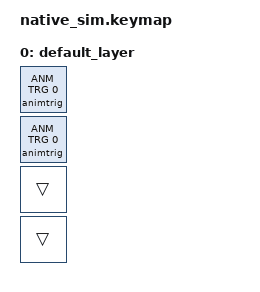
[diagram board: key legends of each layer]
#include "../test.dtsi"
#include <dt-bindings/zmk/keys.h>
#include <dt-bindings/zmk/kscan_mock.h>
#include <zmk_driver_animation/animation.dtsi>
#include <behaviors/animation_trigger.dtsi>
#include <dt-bindings/zmk_driver_animation/animation_control.h>
#include <dt-bindings/zmk_driver_animation/animation_trigger.h>

/*
 * animtrig press/hold/release semantics + hold-extension (DESIGN.md #3.7):
 * key position 0 is pressed and released quickly (plays for
 * TRIGGER_MIN_DURATION_MS then stops via animation_stop_work); key
 * position 1 is held across the min-duration boundary so
 * animation_stop_work's "still pressed -> extend" branch fires at least
 * once before release finally lets it stop.
 *
 * ZMK_MOCK_PRESS/RELEASE's msec is the delay before the *next* events-list
 * entry fires, read/rescheduled at the moment the current entry's own
 * callback runs (see tests/overlay_queue's native_sim.keymap comment and
 * dependencies/zmk/app/module/drivers/kscan/kscan_mock.c) - i.e. entry[i]'s
 * msec controls when entry[i+1] fires, not entry[i] itself.
 */

/ {
    mock_led_strip0: mock_led_strip_0 {
        compatible = "zmk,mock-led-strip";
        chain-length = <1>;
    };

    animation: animation {
        compatible = "zmk,animation";
        drivers = <&mock_led_strip0>;
        chain-lengths = <1>;
        pixels = <&pixel 0 0>;
    };

    animation_base: animation_base {
        compatible = "zmk,animation-solid";
        pixels = <0>;
        colors = <HSL(0, 100, 50)>;
    };

    animation_overlay: animation_overlay {
        compatible = "zmk,animation-solid";
        pixels = <0>;
        colors = <HSL(240, 100, 50)>;
    };

    animation_control0: animation_control_0 {
        compatible = "zmk,animation-control";
        powered-animations = <&animation_base>;
        battery-animations = <&animation_base>;
        behavior-animations = <&animation_overlay>;
    };

    chosen {
        zmk,animation = &animation_control0;
        zmk,animation-control = &animation_control0;
    };

    keymap {
        compatible = "zmk,keymap";

        default_layer {
            bindings = <
            &animtrig ANM_TRG 0
            &animtrig ANM_TRG 0
            &trans
            &trans
            >;
        };
    };
};

/*
 * Absolute timeline (min-duration=200ms, extend-on-hold=200ms per
 * native_sim.conf):
 *   t~50ms   press position 0: starts the trigger overlay.
 *   t~100ms  release position 0 almost immediately - num_pressed drops to
 *            0 well before the ~200ms min-duration elapses, so
 *            animation_stop_work's first firing (at ~250ms) sees
 *            num_pressed==0 and stops it outright (no extension).
 *   t~350ms  press position 1: starts a second trigger overlay.
 *   t~600ms  release position 1 - by now animation_stop_work has already
 *            fired once (at ~550ms) while position 1 was still held,
 *            taking the "num_pressed > 0 -> extend" branch, so this
 *            release is followed by a *second* stop_work firing that
 *            finally stops it.
 */
&kscan {
    events = <
    ZMK_MOCK_PRESS(0,0,50)
    ZMK_MOCK_RELEASE(0,0,300)
    ZMK_MOCK_PRESS(0,1,250)
    ZMK_MOCK_RELEASE(0,1,50)
    /* Trailing no-op on an unbound position (2, &trans) purely to keep
     * native_sim alive long enough (board's exit-after fires the instant
     * the events list is exhausted) to observe the final stop_work firing
     * after the position-1 release above, without logging a spurious
     * second "released" for position 0/1. */
    ZMK_MOCK_RELEASE(1,0,300)
    >;
};
